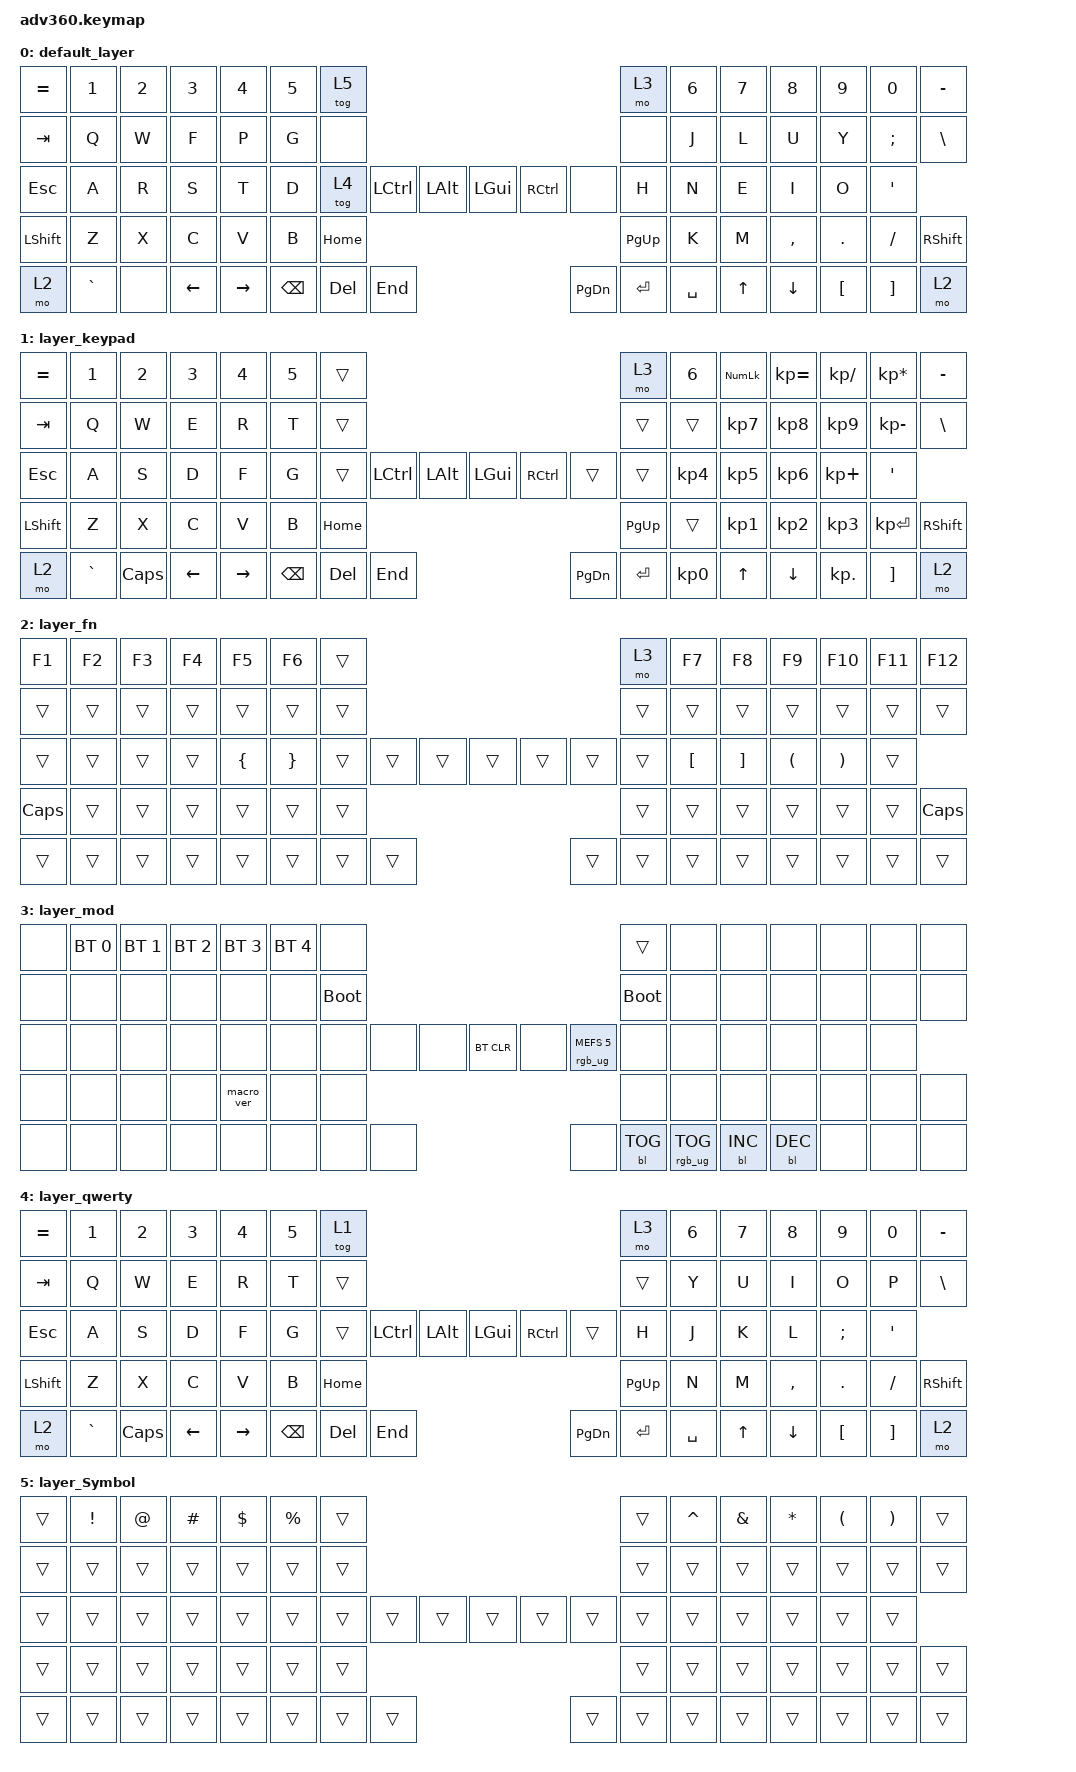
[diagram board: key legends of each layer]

/*
 * Copyright (c) 2020 The ZMK Contributors
 *
 * SPDX-License-Identifier: MIT
 */


/* THIS FILE WAS GENERATED!
 *
 * This file was generated automatically. You may or may not want to
 * edit it directly.
 */

#include <behaviors.dtsi>
#include <dt-bindings/zmk/keys.h>
#include <dt-bindings/zmk/bt.h>
#include <dt-bindings/zmk/rgb.h>
#include <dt-bindings/zmk/backlight.h>

/ {
  behaviors {
    #include "macros.dtsi"
    #include "version.dtsi"

    hm: homerow_mods {
        compatible = "zmk,behavior-hold-tap";
        label = "HOMEROW_MODS";
        #binding-cells = <2>;
        tapping-term-ms = <200>;
        quick_tap_ms = <175>;
        flavor = "tap-preferred";
        bindings = <&kp>, <&kp>;
    };
  };

    keymap {
        compatible = "zmk,keymap";


        default_layer {
            bindings = <
 &kp EQUAL     &kp N1  &kp N2    &kp N3     &kp N4  &kp N5              &tog 5                                                                 &mo 3  &kp N6  &kp N7     &kp N8    &kp N9    &kp N0  &kp MINUS
   &kp TAB      &kp Q   &kp W     &kp F      &kp P   &kp G               &none                                                                 &none   &kp J   &kp L      &kp U     &kp Y  &kp SEMI   &kp BSLH
   &kp ESC      &kp A   &kp R     &kp S      &kp T   &kp D              &tog 4  &kp LCTRL  &kp LALT                   &kp LGUI  &kp RCTRL      &none   &kp H   &kp N      &kp E     &kp I     &kp O    &kp SQT
 &kp LSHFT      &kp Z   &kp X     &kp C      &kp V   &kp B                                 &kp HOME                  &kp PG_UP                         &kp K   &kp M  &kp COMMA   &kp DOT  &kp FSLH  &kp RSHFT
     &mo 2  &kp GRAVE   &none  &kp LEFT  &kp RIGHT                    &kp BSPC    &kp DEL   &kp END                  &kp PG_DN  &kp ENTER  &kp SPACE          &kp UP   &kp DOWN  &kp LBKT  &kp RBKT      &mo 2
            >;
        };

        layer_keypad {
            bindings = <
 &kp EQUAL     &kp N1    &kp N2    &kp N3     &kp N4  &kp N5              &trans                                                                 &mo 3  &kp N6  &kp KP_NUM  &kp KP_EQUAL  &kp KP_DIVIDE  &kp KP_MULTIPLY  &kp MINUS
   &kp TAB      &kp Q     &kp W     &kp E      &kp R   &kp T              &trans                                                                &trans  &trans   &kp KP_N7     &kp KP_N8      &kp KP_N9     &kp KP_MINUS   &kp BSLH
   &kp ESC      &kp A     &kp S     &kp D      &kp F   &kp G              &trans  &kp LCTRL  &kp LALT                   &kp LGUI  &kp RCTRL     &trans  &trans   &kp KP_N4     &kp KP_N5      &kp KP_N6      &kp KP_PLUS    &kp SQT
 &kp LSHFT      &kp Z     &kp X     &kp C      &kp V   &kp B                                 &kp HOME                  &kp PG_UP                        &trans   &kp KP_N1     &kp KP_N2      &kp KP_N3     &kp KP_ENTER  &kp RSHFT
     &mo 2  &kp GRAVE  &kp CAPS  &kp LEFT  &kp RIGHT                    &kp BSPC    &kp DEL   &kp END                  &kp PG_DN  &kp ENTER  &kp KP_N0              &kp UP      &kp DOWN     &kp KP_DOT         &kp RBKT      &mo 2
            >;
        };

        layer_fn {
            bindings = <
   &kp F1  &kp F2  &kp F3  &kp F4          &kp F5           &kp F6            &trans                                                   &mo 3  &kp F7            &kp F8             &kp F9               &kp F10                &kp F11   &kp F12
   &trans  &trans  &trans  &trans          &trans           &trans            &trans                                                  &trans  &trans            &trans             &trans                &trans                 &trans    &trans
   &trans  &trans  &trans  &trans  &kp LEFT_BRACE  &kp RIGHT_BRACE            &trans  &trans  &trans                  &trans  &trans  &trans  &trans  &kp LEFT_BRACKET  &kp RIGHT_BRACKET  &kp LEFT_PARENTHESIS  &kp RIGHT_PARENTHESIS    &trans
 &kp CAPS  &trans  &trans  &trans          &trans           &trans                            &trans                  &trans                  &trans            &trans             &trans                &trans                 &trans  &kp CAPS
   &trans  &trans  &trans  &trans          &trans                             &trans  &trans  &trans                  &trans  &trans  &trans                    &trans             &trans                &trans                 &trans    &trans
            >;
        };

        layer_mod {
            bindings = <
  &none  &bt BT_SEL 0  &bt BT_SEL 1  &bt BT_SEL 2  &bt BT_SEL 3  &bt BT_SEL 4                  &none                                                                          &trans   &none       &none       &none   &none   &none   &none
  &none         &none         &none         &none         &none         &none            &bootloader                                                                     &bootloader   &none       &none       &none   &none   &none   &none
  &none         &none         &none         &none         &none         &none                  &none   &none   &none                  &bt BT_CLR       &none  &rgb_ug RGB_MEFS_CMD 5   &none       &none       &none   &none   &none   &none
  &none         &none         &none         &none    &macro_ver         &none                                  &none                       &none                                       &none       &none       &none   &none   &none   &none
  &none         &none         &none         &none         &none                                &none   &none   &none                       &none  &bl BL_TOG         &rgb_ug RGB_TOG          &bl BL_INC  &bl BL_DEC   &none   &none   &none
            >;
        };

        layer_qwerty {
            bindings = <
 &kp EQUAL     &kp N1    &kp N2    &kp N3     &kp N4  &kp N5              &tog 1                                                                 &mo 3  &kp N6  &kp N7     &kp N8    &kp N9    &kp N0  &kp MINUS
   &kp TAB      &kp Q     &kp W     &kp E      &kp R   &kp T              &trans                                                                &trans   &kp Y   &kp U      &kp I     &kp O     &kp P   &kp BSLH
   &kp ESC      &kp A     &kp S     &kp D      &kp F   &kp G              &trans  &kp LCTRL  &kp LALT                   &kp LGUI  &kp RCTRL     &trans   &kp H   &kp J      &kp K     &kp L  &kp SEMI    &kp SQT
 &kp LSHFT      &kp Z     &kp X     &kp C      &kp V   &kp B                                 &kp HOME                  &kp PG_UP                         &kp N   &kp M  &kp COMMA   &kp DOT  &kp FSLH  &kp RSHFT
     &mo 2  &kp GRAVE  &kp CAPS  &kp LEFT  &kp RIGHT                    &kp BSPC    &kp DEL   &kp END                  &kp PG_DN  &kp ENTER  &kp SPACE          &kp UP   &kp DOWN  &kp LBKT  &kp RBKT      &mo 2
            >;
        };

        layer_Symbol {
            bindings = <
 &trans  &kp EXCLAMATION  &kp AT_SIGN  &kp HASH  &kp DOLLAR  &kp PERCENT            &trans                                                  &trans  &kp CARET  &kp AMPERSAND  &kp STAR  &kp LEFT_PARENTHESIS  &kp RIGHT_PARENTHESIS  &trans
 &trans           &trans       &trans    &trans      &trans       &trans            &trans                                                  &trans     &trans         &trans    &trans                &trans                 &trans  &trans
 &trans           &trans       &trans    &trans      &trans       &trans            &trans  &trans  &trans                  &trans  &trans  &trans     &trans         &trans    &trans                &trans                 &trans  &trans
 &trans           &trans       &trans    &trans      &trans       &trans                            &trans                  &trans                     &trans         &trans    &trans                &trans                 &trans  &trans
 &trans           &trans       &trans    &trans      &trans                         &trans  &trans  &trans                  &trans  &trans  &trans                    &trans    &trans                &trans                 &trans  &trans
            >;
        };

    };
};
